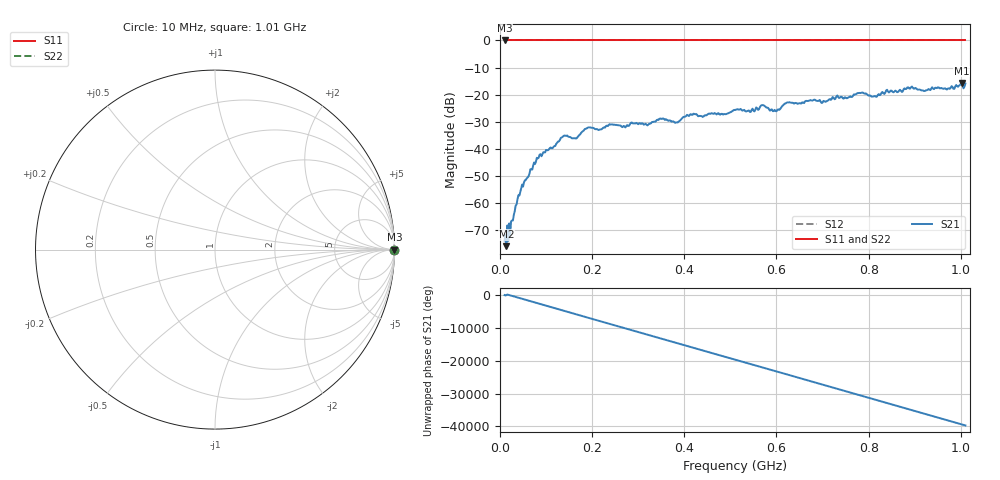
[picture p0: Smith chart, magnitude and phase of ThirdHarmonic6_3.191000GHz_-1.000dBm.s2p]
! 8/17/2025 9:39:53 AM
! C:\ANRITSUVNA\TEMP\TEMP.S2P
! CHANNEL.1
! TR.MEASUREMENT
! RAW.DATA
! RF.CORRECTION.OFF
! AVERAGING.OFF
! IF.BANDWIDTH: 5KHZ
! SWEEPTYPE:  FREQ.SWEEP(Linear)
! Reference Plane Port Info
! PORT:  PORT1  PORT2
! DISTANCE:  0  m  0  m
! TIME:  0  s  0  s
! PHASE.OFFSET:  0  deg.  0  deg.
! LOSS:  0  dB  0  dB
! REF.LOSS:  0  dB  0  dB
! REF.FREQ:  0  Hz  0  Hz
! Power Info
! POWER:  -20  dBm  -20  dBm
! EFF.POWER:  -20  dBm  -20  dBm
! SOURCE.ATTEN:  0  dB  0  dB
! TEST.ATTEN:  0  dB  0  dB
# GHZ S RI R 50.0
! FREQ.GHZ  S11RE  S11IM  S21RE  S21IM  S12RE  S12IM  S22RE  S22IM
!; PortSelection: Port_12
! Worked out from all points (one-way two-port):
!   501 points, 10 MHz to 1.01 GHz, reference 50 ohm
!   highest |S21| = -15.65 dB at 1.002 GHz (marker M1); lowest = -75.9 dB at 14 MHz (marker M2)
!   lowest |S11| = 0.0 dB at 10 MHz (marker M3)
!   |S11| at or under -10 dB: nowhere
!   |S22| runs from 0.0 to 0.0 dB; largest |S21 - S12| = 1.1
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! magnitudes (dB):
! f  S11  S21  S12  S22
! 10 MHz  0.0  -73.8  0.0  0.0
! 14 MHz  0.0  -75.9  0.0  0.0
! 26 MHz  0.0  -66.4  0.0  0.0
! 44 MHz  0.0  -56.0  0.0  0.0
! 84 MHz  0.0  -43.3  0.0  0.0
! 136 MHz  0.0  -35.6  0.0  0.0
! 164 MHz  0.0  -36.2  0.0  0.0
! 178 MHz  0.0  -33.7  0.0  0.0
! 344 MHz  0.0  -29.3  0.0  0.0
! 382 MHz  0.0  -30.3  0.0  0.0
! 416 MHz  0.0  -27.4  0.0  0.0
! 510 MHz  0.0  -25.7  0.0  0.0
! 540 MHz  0.0  -25.8  0.0  0.0
! 570 MHz  0.0  -23.9  0.0  0.0
! 596 MHz  0.0  -25.6  0.0  0.0
! 624 MHz  0.0  -22.8  0.0  0.0
! 678 MHz  0.0  -22.2  0.0  0.0
! 784 MHz  0.0  -19.3  0.0  0.0
! 814 MHz  0.0  -20.5  0.0  0.0
! 844 MHz  0.0  -19.2  0.0  0.0
! 1.002 GHz  0.0  -15.7  0.0  0.0
! 1.01 GHz  0.0  -15.9  0.0  0.0
